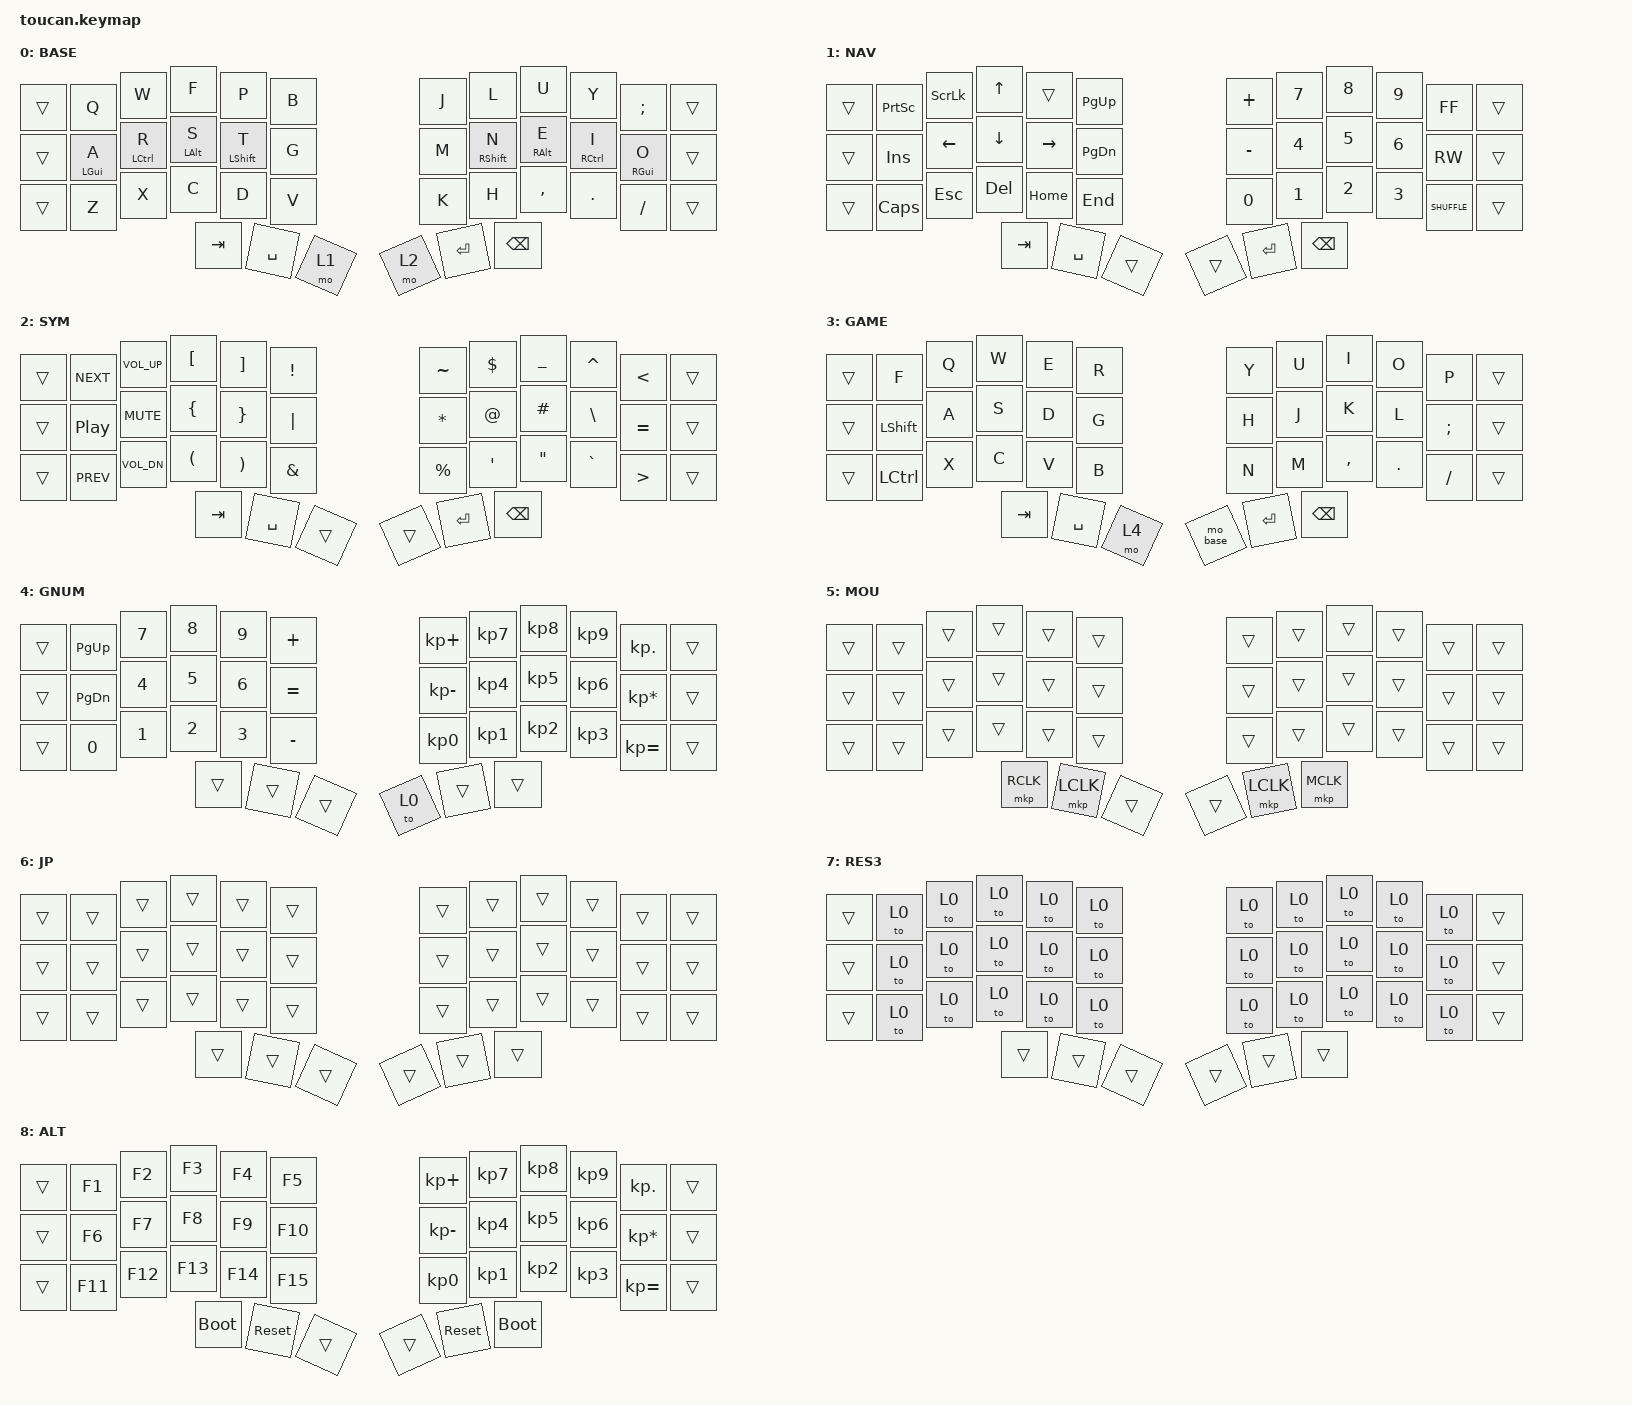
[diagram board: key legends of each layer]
#include <behaviors.dtsi>
#include <dt-bindings/zmk/keys.h>
#include <dt-bindings/zmk/bt.h>
#include <dt-bindings/zmk/outputs.h>
#include <dt-bindings/zmk/pointing.h>

#define BASE 0
#define NAV  1
#define SYM  2
#define ALT  3
#define JP   6

/ {
    macros {
        ctrl_c: ctrl_c {
            compatible = "zmk,behavior-macro";
            #binding-cells = <0>;
            bindings = <&macro_press &kp RCTRL>, <&macro_tap &kp C>, <&macro_release &kp RCTRL>;
        };
        ctrl_v: ctrl_v {
            compatible = "zmk,behavior-macro";
            #binding-cells = <0>;
            bindings = <&macro_press &kp RCTRL>, <&macro_tap &kp V>, <&macro_release &kp RCTRL>;
        };
        shift_ctrl_c: shift_ctrl_c {
            compatible = "zmk,behavior-macro";
            #binding-cells = <0>;
            bindings = <&macro_press &kp RSHIFT>, <&macro_press &kp RCTRL>, <&macro_tap &kp C>, <&macro_release &kp RCTRL>, <&macro_release &kp RSHIFT>;
        };
        shift_ctrl_v: shift_ctrl_v {
            compatible = "zmk,behavior-macro";
            #binding-cells = <0>;
            bindings = <&macro_press &kp RSHIFT>, <&macro_press &kp RCTRL>, <&macro_tap &kp V>, <&macro_release &kp RCTRL>, <&macro_release &kp RSHIFT>;
        };
        // Momentary BASE for the GAME layer. BASE sits under GAME, so a plain
        // &mo 0 would change nothing; this turns GAME off while held instead.
        mo_base: mo_base {
            compatible = "zmk,behavior-macro";
            #binding-cells = <0>;
            bindings = <&macro_tap &tog 3>, <&macro_pause_for_release>, <&macro_tap &tog 3>;
        };
        a_a: a_a {
            compatible = "zmk,behavior-macro";
            #binding-cells = <0>;
            bindings = <&macro_tap &kp A>, <&macro_tap &kp A>;
        };
        q_q: q_q {
            compatible = "zmk,behavior-macro";
            #binding-cells = <0>;
            bindings = <&macro_tap &kp Q>, <&macro_tap &kp Q>;
        };
        o_o: o_o {
            compatible = "zmk,behavior-macro";
            #binding-cells = <0>;
            bindings = <&macro_tap &kp O>, <&macro_tap &kp O>;
        };
        // Japanese mode. Entering sends Henkan, leaving sends Muhenkan; the
        // host IME framework (fcitx5 + Mozc) maps those to "activate" and
        // "deactivate", so the JP layer and the IME stay in step. Both are
        // explicit on/off rather than toggles: if they ever drift apart, one
        // more TAB + H puts them back in agreement.
        jp_on: jp_on {
            compatible = "zmk,behavior-macro";
            #binding-cells = <0>;
            bindings = <&macro_tap &kp INT_HENKAN>, <&macro_tap &to JP>;
        };
        jp_off: jp_off {
            compatible = "zmk,behavior-macro";
            #binding-cells = <0>;
            bindings = <&macro_tap &kp INT_MUHENKAN>, <&macro_tap &to BASE>;
        };
        semi_semi: semi_semi {
            compatible = "zmk,behavior-macro";
            #binding-cells = <0>;
            bindings = <&macro_tap &kp SEMI>, <&macro_tap &kp SEMI>;
        };
    };

    behaviors {
        td10: tap_dance_10 {
            compatible = "zmk,behavior-tap-dance";
            #binding-cells = <0>;
            tapping-term-ms = <200>;
            bindings = <&kp A>, <&a_a>, <&ctrl_c>;
        };
        td11: tap_dance_11 {
            compatible = "zmk,behavior-tap-dance";
            #binding-cells = <0>;
            tapping-term-ms = <200>;
            bindings = <&kp Q>, <&q_q>, <&shift_ctrl_c>;
        };
        td12: tap_dance_12 {
            compatible = "zmk,behavior-tap-dance";
            #binding-cells = <0>;
            tapping-term-ms = <200>;
            bindings = <&kp O>, <&o_o>, <&ctrl_v>;
        };
        td13: tap_dance_13 {
            compatible = "zmk,behavior-tap-dance";
            #binding-cells = <0>;
            tapping-term-ms = <200>;
            bindings = <&kp SEMI>, <&semi_semi>, <&shift_ctrl_v>;
        };
        hrm: home_row_mod {
            compatible = "zmk,behavior-hold-tap";
            #binding-cells = <2>;
            flavor = "hold-preferred";
            tapping-term-ms = <200>;
            quick-tap-ms = <175>;
            require-prior-idle-ms = <150>;
            bindings = <&kp>, <&kp>;
        };
        // Shift gets its own hold-tap: no require-prior-idle-ms, so grabbing
        // shift right after a keystroke still shifts. "balanced" keeps typing
        // rolls safe -- a hold only resolves if the other key is pressed AND
        // released while this key is still held, which never happens in a
        // roll (the roll releases this key first).
        hrms: home_row_mod_shift {
            compatible = "zmk,behavior-hold-tap";
            #binding-cells = <2>;
            flavor = "balanced";
            tapping-term-ms = <200>;
            quick-tap-ms = <175>;
            bindings = <&kp>, <&kp>;
        };
    };

    combos {
        compatible = "zmk,combos";

        // BASE-only system chords: left outer thumb (TAB) + the key that used
        // to carry the action on its triple-tap. require-prior-idle-ms keeps
        // them from firing mid-typing.
        combo_bt_prv {
            bindings = <&bt BT_PRV>;
            key-positions = <36 25>;   // TAB + Z
            layers = <BASE>;
            timeout-ms = <50>;
            require-prior-idle-ms = <150>;
        };
        combo_bt_nxt {
            bindings = <&bt BT_NXT>;
            key-positions = <36 26>;   // TAB + X
            layers = <BASE>;
            timeout-ms = <50>;
            require-prior-idle-ms = <150>;
        };
        combo_game {
            bindings = <&to 3>;
            key-positions = <36 28>;   // TAB + D
            layers = <BASE>;
            timeout-ms = <50>;
            require-prior-idle-ms = <150>;
        };
        combo_jp_on {
            bindings = <&jp_on>;
            key-positions = <36 31>;   // TAB + H
            layers = <BASE>;
            timeout-ms = <50>;
            require-prior-idle-ms = <150>;
        };
        // Same chord on JP leaves it. Only one of the pair is ever live,
        // since each is limited to its own layer.
        combo_jp_off {
            bindings = <&jp_off>;
            key-positions = <36 31>;   // TAB + H
            layers = <JP>;
            timeout-ms = <50>;
            require-prior-idle-ms = <150>;
        };
        combo_res3 {
            bindings = <&to 7>;
            key-positions = <36 32>;   // TAB + ,
            layers = <BASE>;
            timeout-ms = <50>;
            require-prior-idle-ms = <150>;
        };
        // Destructive: unpairs every profile. Three keys on purpose.
        combo_bt_clr {
            bindings = <&bt BT_CLR>;
            key-positions = <36 33 34>;   // TAB + . + /
            layers = <BASE>;
            timeout-ms = <75>;
            require-prior-idle-ms = <150>;
        };
    };

    conditional_layers {
        compatible = "zmk,conditional-layers";
        tri_layer {
            if-layers = <1 2>;
            then-layer = <8>;
        };
    };

    keymap {
        compatible = "zmk,keymap";

        base {
            display-name = "BASE";
            bindings = <
                &trans   &kp Q         &kp W          &kp F         &kp P           &kp B      &kp J  &kp L           &kp U         &kp Y          &kp SEMI      &trans
                &trans   &hrm LGUI A   &hrm LCTRL R   &hrm LALT S   &hrms LSHIFT T   &kp G      &kp M  &hrms RSHIFT N   &hrm RALT E   &hrm RCTRL I   &hrm RGUI O   &trans
                &trans   &kp Z         &kp X          &kp C         &kp D           &kp V      &kp K  &kp H           &kp COMMA     &kp DOT        &kp FSLH      &trans
                                &kp TAB &kp SPACE &mo 1   &mo 2 &kp RET &kp BSPC
            >;
        };

        nav {
            display-name = "NAV";
            bindings = <
                &trans     &kp PSCRN  &kp SLCK     &kp UP       &trans       &kp PG_UP   &kp PLUS   &kp N7    &kp N8  &kp N9    &kp C_FF      &trans
                &trans     &kp INSERT &kp LEFT     &kp DOWN     &kp RIGHT    &kp PG_DN   &kp MINUS  &kp N4    &kp N5  &kp N6    &kp C_RW      &trans
                &trans     &kp CAPS   &kp ESC      &kp DEL      &kp HOME     &kp END     &kp N0     &kp N1    &kp N2  &kp N3    &kp C_SHUFFLE &trans
                                      &kp TAB     &kp SPACE       &trans      &trans  &kp RET   &kp BSPC
            >;
        };

        sym {
            display-name = "SYM";
            bindings = <
                &trans   &kp C_NEXT &kp C_VOL_UP &kp LBKT &kp RBKT &kp EXCL   &kp TILDE &kp DLLR  &kp UNDER  &kp CARET &kp LT    &trans
                &trans   &kp C_PP   &kp C_MUTE   &kp LBRC &kp RBRC &kp PIPE   &kp STAR  &kp AT    &kp HASH   &kp BSLH  &kp EQUAL &trans
                &trans   &kp C_PREV &kp C_VOL_DN &kp LPAR &kp RPAR &kp AMPS   &kp PRCNT &kp SQT   &kp DQT    &kp GRAVE &kp GT    &trans
                                             &kp TAB &kp SPACE  &trans               &trans   &kp RET    &kp BSPC
            >;
        };

        game {
            display-name = "GAME";
            bindings = <
                &trans  &kp F      &kp Q &kp W &kp E &kp R     &kp Y  &kp U  &kp I      &kp O   &kp P     &trans
                &trans  &kp LSHIFT &kp A &kp S &kp D &kp G     &kp H  &kp J  &kp K      &kp L   &kp SEMI  &trans
                &trans  &kp LCTRL  &kp X &kp C &kp V &kp B     &kp N  &kp M  &kp COMMA  &kp DOT &kp FSLH  &trans
                                &kp TAB &kp SPACE &mo 4   &mo_base &kp RET &kp BSPC
            >;
        };

        gnum {
            display-name = "GNUM";
            bindings = <
                &trans &kp PG_UP &kp N7 &kp N8 &kp N9 &kp PLUS           &kp KP_PLUS  &kp KP_N7 &kp KP_N8 &kp KP_N9 &kp KP_DOT      &trans
                &trans &kp PG_DN &kp N4 &kp N5 &kp N6 &kp EQUAL          &kp KP_MINUS &kp KP_N4 &kp KP_N5 &kp KP_N6 &kp KP_MULTIPLY &trans
                &trans &kp N0    &kp N1 &kp N2 &kp N3 &kp MINUS          &kp KP_N0    &kp KP_N1 &kp KP_N2 &kp KP_N3 &kp KP_EQUAL    &trans
                            &trans &trans &trans           &to 0 &trans &trans
            >;
        };

        // Held for as long as a finger rests on the trackpad, by the
        // is_touching_processor node in boards/shields/toucan/toucan.dtsi.
        // Everything but the outer and middle thumbs is &trans: typing is
        // unaffected, the inner thumbs still reach NAV/SYM so the listener's
        // scroll override keeps working, and the thumbs that are left become
        // mouse buttons, which is what makes click-and-drag work.
        mouse {
            display-name = "MOU";
            bindings = <
                &trans &trans &trans &trans &trans &trans          &trans &trans &trans &trans &trans &trans
                &trans &trans &trans &trans &trans &trans          &trans &trans &trans &trans &trans &trans
                &trans &trans &trans &trans &trans &trans          &trans &trans &trans &trans &trans &trans
                            &mkp RCLK &mkp LCLK &trans           &trans &mkp LCLK &mkp MCLK
            >;
        };

        // Japanese mode, entered and left with TAB + H (see jp_on / jp_off).
        // Every key is &trans: romaji is typed on BASE as usual and NAV, SYM,
        // ALT and the trackpad clicks all still reach through. The layer
        // exists so the status screen reads "JP" while the IME should be on,
        // and so the exit combo has a layer of its own. Do not bind keys
        // here: layer 6 sits above NAV and SYM and would shadow them.
        jp {
            display-name = "JP";
            bindings = <
                &trans &trans &trans &trans &trans &trans          &trans &trans &trans &trans &trans &trans
                &trans &trans &trans &trans &trans &trans          &trans &trans &trans &trans &trans &trans
                &trans &trans &trans &trans &trans &trans          &trans &trans &trans &trans &trans &trans
                            &trans &trans &trans           &trans &trans &trans
            >;
        };

        extra_4 {
            display-name = "RES3";
            bindings = <
                &trans &to 0 &to 0 &to 0 &to 0 &to 0          &to 0 &to 0 &to 0 &to 0 &to 0 &trans
                &trans &to 0 &to 0 &to 0 &to 0 &to 0          &to 0 &to 0 &to 0 &to 0 &to 0 &trans
                &trans &to 0 &to 0 &to 0 &to 0 &to 0          &to 0 &to 0 &to 0 &to 0 &to 0 &trans
                            &trans &trans &trans           &trans &trans &trans
            >;
        };

        alt {
            display-name = "ALT";
            bindings = <
                &trans &kp F1  &kp F2  &kp F3  &kp F4  &kp F5          &kp KP_PLUS  &kp KP_N7 &kp KP_N8 &kp KP_N9 &kp KP_DOT      &trans
                &trans &kp F6  &kp F7  &kp F8  &kp F9  &kp F10         &kp KP_MINUS &kp KP_N4 &kp KP_N5 &kp KP_N6 &kp KP_MULTIPLY &trans
                &trans &kp F11 &kp F12 &kp F13 &kp F14 &kp F15         &kp KP_N0    &kp KP_N1 &kp KP_N2 &kp KP_N3 &kp KP_EQUAL    &trans
                            &bootloader &sys_reset &trans           &trans &sys_reset &bootloader
            >;
        };
    };
};
